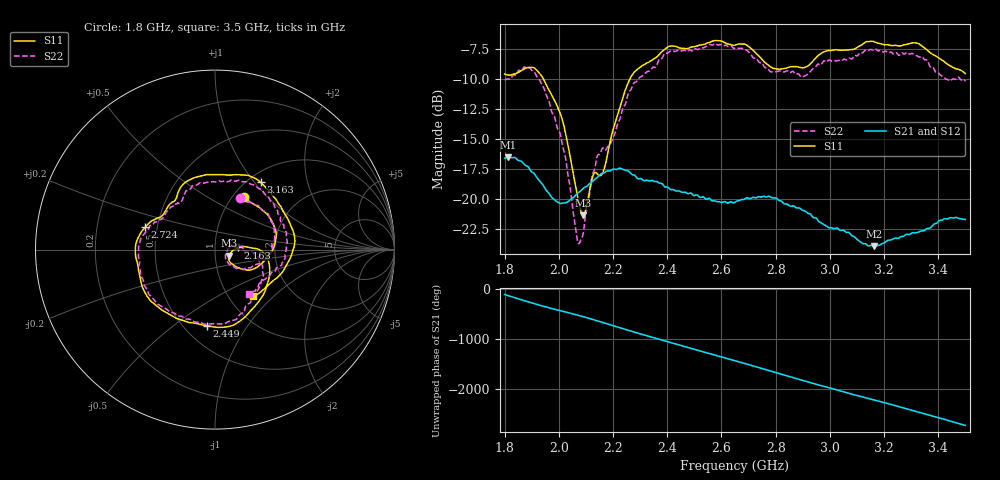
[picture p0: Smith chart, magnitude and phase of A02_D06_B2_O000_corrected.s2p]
! Created with skrf 1.9.0 (http://scikit-rf.org).
# Hz S RI R 50.0
!freq ReS11 ImS11 ReS21 ImS21 ReS12 ImS12 ReS22 ImS22
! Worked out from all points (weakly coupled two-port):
!   1601 points, 1.8 GHz to 3.5 GHz, reference 50 ohm
!   highest |S21| = -16.51 dB at 1.812 GHz (marker M1); lowest = -23.9 dB at 3.163 GHz (marker M2)
!   lowest |S11| = -21.4 dB at 2.09 GHz (marker M3), VSWR 1.19, Z = 58.4 - j3.9 ohm
!   |S11| at or under -10 dB: 1.944 GHz to 2.262 GHz (318.2 MHz wide, 15.1 % of centre)
!   |S22| runs from -23.7 to -7.0 dB; largest |S21 - S12| = 0.0024
!   S11 on the Smith chart (normalised r, x): 1.8 GHz: 1.13, +0.74; 2.163 GHz: 1.30, +0.03; 2.449 GHz: 0.64, -0.67; 2.724 GHz: 0.43, +0.13; 3.163 GHz: 1.14, +1.08; 3.5 GHz: 1.29, -0.75
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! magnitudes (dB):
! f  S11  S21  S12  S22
! 1.8 GHz  -9.6  -16.6  -16.6  -10.0
! 1.812 GHz  -9.6  -16.5  -16.5  -10.0
! 1.888 GHz  -9.0  -17.3  -17.4  -9.1
! 1.941 GHz  -9.9  -18.8  -18.8  -10.6
! 2.013 GHz  -13.4  -20.4  -20.4  -15.4
! 2.067 GHz  -19.5  -19.6  -19.6  -23.2
! 2.084 GHz  -21.2  -19.3  -19.2  -23.3
! 2.09 GHz  -21.4  -19.1  -19.1  -22.9
! 2.127 GHz  -18.0  -18.5  -18.5  -17.8
! 2.163 GHz  -17.7  -17.8  -17.8  -15.7
! 2.197 GHz  -14.4  -17.5  -17.5  -15.0
! 2.26 GHz  -10.1  -17.7  -17.7  -11.0
! 2.367 GHz  -8.0  -18.6  -18.6  -8.5
! 2.449 GHz  -7.4  -19.4  -19.4  -7.6
! 2.65 GHz  -7.1  -20.3  -20.2  -7.4
! 2.724 GHz  -7.8  -19.9  -19.9  -8.2
! 2.802 GHz  -9.1  -19.9  -20.0  -9.4
! 2.934 GHz  -8.6  -21.4  -21.4  -9.2
! 3.163 GHz  -6.9  -23.9  -23.9  -7.5
! 3.217 GHz  -7.1  -23.4  -23.4  -7.8
! 3.324 GHz  -7.0  -22.8  -22.7  -8.1
! 3.5 GHz  -9.5  -21.7  -21.7  -10.2
